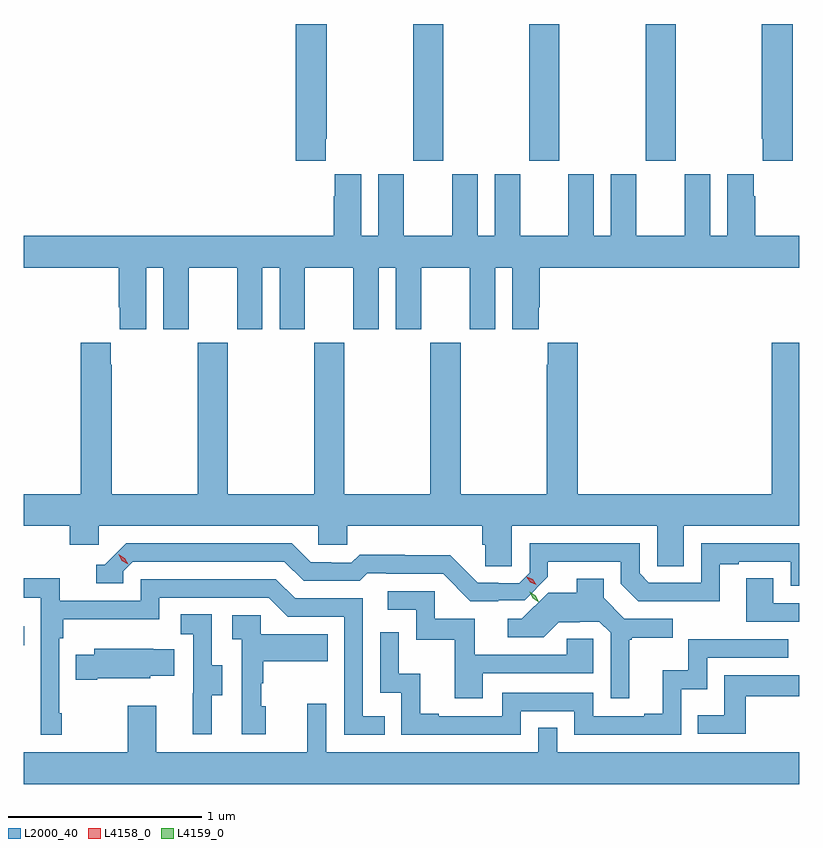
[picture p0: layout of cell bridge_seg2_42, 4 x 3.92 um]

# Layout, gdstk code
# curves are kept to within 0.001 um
import gdstk
lib = gdstk.Library(unit=1e-6, precision=1e-09)
def R(c, l, rs):  # rectangles x0, y0, x1, y1
    for r in rs: c.add(gdstk.rectangle(r[:2], r[2:], *l))
def A(c, l, x, y, w, h, nx, ny, dx, dy):  # array of equal rectangles
    R(c, l, [(x+i*dx, y+j*dy, x+i*dx+w, y+j*dy+h) for i in range(nx) for j in range(ny)])
def P(c, l, *ps):  # polygons
    for p in ps: c.add(gdstk.Polygon(p, *l))
L2000_40 = (2000, 40)
L4158_0 = (4158, 0)
L4159_0 = (4159, 0)

bridge_seg2_42 = lib.new_cell('bridge_seg2_42')
A(bridge_seg2_42, L2000_40, 1144.543, 606.897, 0.155, 0.705, 3, 1, 0.6, 0)
R(bridge_seg2_42, L2000_40, [(1142.535,604.396,1142.537,604.495)])
P(bridge_seg2_42, L2000_40, [(1146.503,607.602),(1146.343,607.602),(1146.343,607.009),(1146.347,607.009),(1146.347,606.897),(1146.503,606.897)],
  [(1144.093,607.009),(1144.098,607.009),(1144.098,607.602),(1143.938,607.602),(1143.938,606.897),(1144.093,606.897)],
  [(1143.166,606.344),(1143.254,606.344),(1143.254,606.027),(1143.385,606.027),(1143.385,606.344),(1143.635,606.344),(1143.635,606.027),(1143.766,606.027),(1143.766,606.344),(1143.854,606.344),(1143.854,606.027),(1143.985,606.027),(1143.985,606.344),(1144.235,606.344),(1144.235,606.027),(1144.366,606.027),(1144.366,606.344),(1144.454,606.344),(1144.454,606.027),(1144.585,606.027),(1144.585,606.344),(1144.835,606.344),(1144.835,606.027),(1144.966,606.027),(1144.966,606.344),(1145.054,606.344),(1145.054,606.027),(1145.191,606.027),(1145.191,606.139),(1145.198,606.139),(1145.198,606.344),(1146.535,606.344),(1146.535,606.508),(1146.308,606.508),(1146.308,606.713),(1146.301,606.713),(1146.301,606.826),(1146.164,606.826),(1146.164,606.508),(1146.076,606.508),(1146.076,606.826),(1145.945,606.826),(1145.945,606.508),(1145.695,606.508),(1145.695,606.826),(1145.564,606.826),(1145.564,606.508),(1145.476,606.508),(1145.476,606.826),(1145.345,606.826),(1145.345,606.508),(1145.095,606.508),(1145.095,606.826),(1144.964,606.826),(1144.964,606.508),(1144.876,606.508),(1144.876,606.826),(1144.745,606.826),(1144.745,606.508),(1144.495,606.508),(1144.495,606.826),(1144.364,606.826),(1144.364,606.508),(1144.276,606.508),(1144.276,606.826),(1144.139,606.826),(1144.139,606.713),(1144.133,606.713),(1144.133,606.508),(1142.535,606.508),(1142.535,606.344),(1143.023,606.344),(1143.023,606.139),(1143.029,606.139),(1143.029,606.027),(1143.166,606.027)],
  [(1145.053,605.012),(1145.802,605.012),(1145.802,604.804),(1145.941,604.804),(1145.941,605.012),(1146.535,605.012),(1146.535,605.956),(1146.395,605.956),(1146.395,605.176),(1145.393,605.176),(1145.393,605.956),(1145.237,605.956),(1145.237,605.843),(1145.233,605.843),(1145.233,605.176),(1144.788,605.176),(1144.788,605.956),(1144.633,605.956),(1144.633,605.176),(1144.188,605.176),(1144.188,605.956),(1144.033,605.956),(1144.033,605.176),(1143.588,605.176),(1143.588,605.956),(1143.433,605.956),(1143.433,605.176),(1142.988,605.176),(1142.988,605.843),(1142.983,605.843),(1142.983,605.956),(1142.828,605.956),(1142.828,605.176),(1142.535,605.176),(1142.535,605.012),(1142.771,605.012),(1142.771,604.914),(1142.922,604.914),(1142.922,605.012),(1144.053,605.012),(1144.053,604.914),(1144.203,604.914),(1144.203,605.012),(1144.901,605.012),(1144.901,604.914),(1144.915,604.914),(1144.915,604.804),(1145.053,604.804)],
  [(1146.127,604.815),(1146.223,604.815),(1146.223,604.827),(1146.492,604.827),(1146.492,604.704),(1146.535,604.704),(1146.535,604.923),(1146.03,604.923),(1146.03,604.719),(1145.76,604.719),(1145.712,604.767),(1145.712,604.923),(1145.146,604.923),(1145.146,604.771),(1145.091,604.716),(1144.983,604.716),(1144.983,604.719),(1144.878,604.719),(1144.736,604.861),(1144.5,604.861),(1144.5,604.864),(1144.267,604.864),(1144.225,604.821),(1144.122,604.821),(1144.122,604.824),(1144.015,604.824),(1143.916,604.923),(1143.063,604.923),(1142.952,604.812),(1142.909,604.812),(1142.909,604.716),(1143.048,604.716),(1143.048,604.779),(1143.096,604.827),(1143.879,604.827),(1143.978,604.728),(1144.267,604.728),(1144.306,604.767),(1144.405,604.767),(1144.405,604.764),(1144.698,604.764),(1144.839,604.623),(1144.983,604.623),(1144.983,604.629),(1145.119,604.629),(1145.239,604.749),(1145.239,604.827),(1145.616,604.827),(1145.616,604.713),(1145.706,604.623),(1146.127,604.622)],
  [(1142.731,604.045),(1142.718,604.045),(1142.718,604.433),(1142.738,604.433),(1142.738,604.529),(1143.234,604.529),(1143.234,604.641),(1143.798,604.641),(1143.897,604.542),(1144.188,604.542),(1144.188,603.933),(1144.397,603.933),(1144.397,604.029),(1144.284,604.029),(1144.284,604.638),(1143.934,604.638),(1143.835,604.737),(1143.138,604.737),(1143.138,604.626),(1142.72,604.626),(1142.72,604.742),(1142.535,604.742),(1142.535,604.64),(1142.622,604.64),(1142.622,603.933),(1142.731,603.933)],
  [(1146.535,604.614),(1146.403,604.614),(1146.403,604.742),(1146.263,604.742),(1146.263,604.518),(1146.535,604.518)],
  [(1145.659,604.425),(1145.671,604.425),(1145.671,604.436),(1145.884,604.436),(1145.884,604.533),(1145.634,604.533),(1145.527,604.64),(1145.527,604.738),(1145.387,604.738),(1145.387,604.668),(1145.24,604.668),(1145.105,604.533),(1145.031,604.533),(1145.031,604.437),(1145.218,604.437),(1145.295,604.514),(1145.403,604.514),(1145.403,604.518),(1145.505,604.518),(1145.562,604.461),(1145.562,604.122),(1145.659,604.122)],
  [(1144.903,604.251),(1145.472,604.251),(1145.472,604.429),(1145.335,604.429),(1145.335,604.347),(1144.861,604.347),(1144.861,604.533),(1144.656,604.533),(1144.656,604.674),(1144.413,604.674),(1144.413,604.578),(1144.56,604.578),(1144.56,604.425),(1144.759,604.425),(1144.759,604.122),(1144.903,604.122)],
  [(1143.505,604.138),(1143.559,604.138),(1143.559,604.293),(1143.504,604.293),(1143.504,604.556),(1143.345,604.556),(1143.345,604.453),(1143.408,604.453),(1143.408,604.149),(1143.407,604.149),(1143.407,603.936),(1143.505,603.936)],
  [(1143.784,604.08),(1143.759,604.08),(1143.759,604.199),(1143.769,604.199),(1143.769,604.313),(1144.103,604.313),(1144.103,604.453),(1143.756,604.453),(1143.756,604.551),(1143.609,604.551),(1143.609,604.427),(1143.66,604.427),(1143.66,603.936),(1143.784,603.936)],
  [(1145.1,604.056),(1145.376,604.056),(1145.376,603.933),(1145.928,603.933),(1145.928,604.169),(1146.06,604.169),(1146.06,604.332),(1146.479,604.332),(1146.479,604.428),(1145.964,604.428),(1145.964,604.267),(1145.831,604.267),(1145.831,604.042),(1145.735,604.042),(1145.735,604.029),(1145.472,604.029),(1145.472,604.152),(1145.004,604.152),(1145.004,604.029),(1144.675,604.029),(1144.675,604.042),(1144.58,604.042),(1144.58,604.25),(1144.47,604.25),(1144.47,604.462),(1144.374,604.462),(1144.374,604.152),(1144.482,604.152),(1144.482,603.933),(1145.1,603.933)],
  [(1142.914,604.226),(1143.186,604.226),(1143.186,604.238),(1143.311,604.238),(1143.311,604.375),(1143.203,604.375),(1143.203,604.378),(1142.897,604.378),(1142.897,604.348),(1142.803,604.348),(1142.803,604.219),(1142.914,604.219)],
  [(1146.259,604.134),(1146.535,604.134),(1146.535,604.242),(1146.148,604.242),(1146.148,604.036),(1146.013,604.036),(1146.013,603.939),(1146.259,603.939)],
  [(1146.535,603.844),(1145.286,603.844),(1145.286,603.971),(1145.19,603.971),(1145.19,603.844),(1144.095,603.844),(1144.095,604.093),(1143.998,604.093),(1143.998,603.844),(1143.217,603.844),(1143.217,604.084),(1143.07,604.084),(1143.07,603.844),(1142.535,603.844),(1142.535,603.68),(1146.535,603.68)])
P(bridge_seg2_42, L4158_0, [(1145.179,604.708),(1145.148,604.721),(1145.131,604.748),(1145.131,604.749),(1145.131,604.749),(1145.162,604.736),(1145.179,604.708),(1145.179,604.708)],
  [(1143.072,604.813),(1143.041,604.832),(1143.025,604.864),(1143.025,604.865),(1143.025,604.865),(1143.056,604.846),(1143.072,604.814),(1143.072,604.813)])
P(bridge_seg2_42, L4159_0, [(1145.191,604.618),(1145.16,604.638),(1145.144,604.67),(1145.144,604.671),(1145.144,604.671),(1145.175,604.651),(1145.191,604.618),(1145.191,604.618)])

lib.write_gds('bridge_seg2_42.gds')
